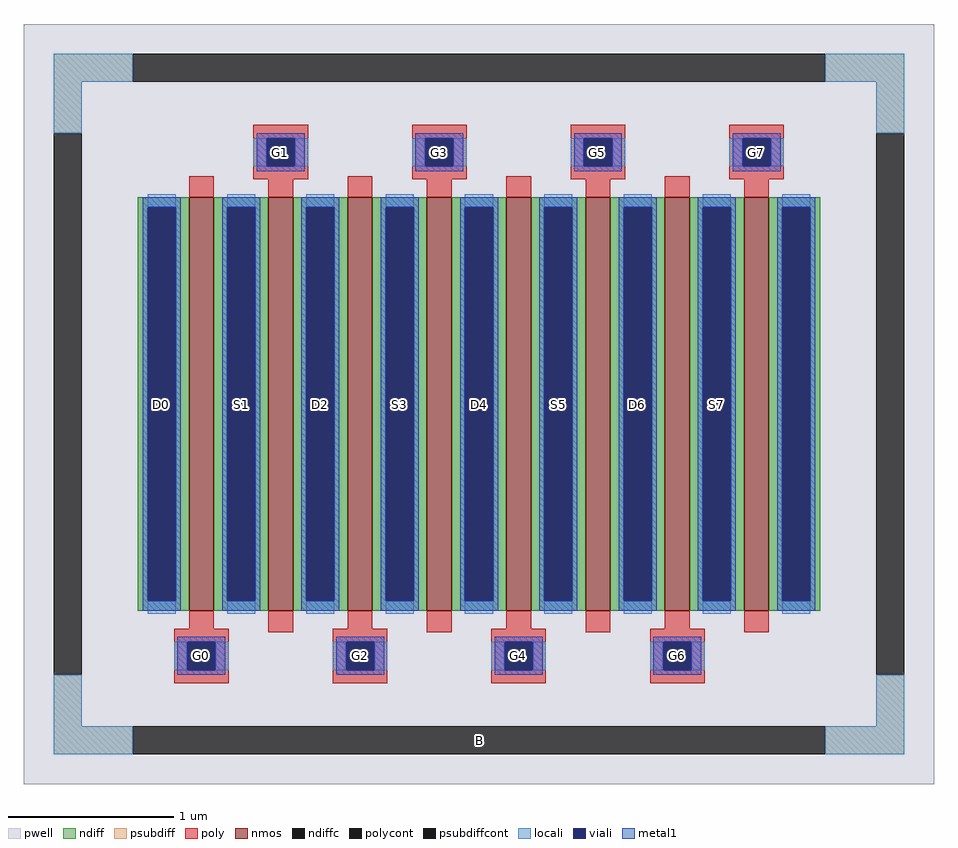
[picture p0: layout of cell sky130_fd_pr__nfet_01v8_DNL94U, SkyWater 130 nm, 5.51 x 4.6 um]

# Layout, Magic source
magic
tech sky130A
magscale 1 2
<< pwell >>
rect -551 -460 551 460
<< nmos >>
rect -351 -250 -321 250
rect -255 -250 -225 250
rect -159 -250 -129 250
rect -63 -250 -33 250
rect 33 -250 63 250
rect 129 -250 159 250
rect 225 -250 255 250
rect 321 -250 351 250
<< ndiff >>
rect -413 238 -351 250
rect -413 -238 -401 238
rect -367 -238 -351 238
rect -413 -250 -351 -238
rect -321 238 -255 250
rect -321 -238 -305 238
rect -271 -238 -255 238
rect -321 -250 -255 -238
rect -225 238 -159 250
rect -225 -238 -209 238
rect -175 -238 -159 238
rect -225 -250 -159 -238
rect -129 238 -63 250
rect -129 -238 -113 238
rect -79 -238 -63 238
rect -129 -250 -63 -238
rect -33 238 33 250
rect -33 -238 -17 238
rect 17 -238 33 238
rect -33 -250 33 -238
rect 63 238 129 250
rect 63 -238 79 238
rect 113 -238 129 238
rect 63 -250 129 -238
rect 159 238 225 250
rect 159 -238 175 238
rect 209 -238 225 238
rect 159 -250 225 -238
rect 255 238 321 250
rect 255 -238 271 238
rect 305 -238 321 238
rect 255 -250 321 -238
rect 351 238 413 250
rect 351 -238 367 238
rect 401 -238 413 238
rect 351 -250 413 -238
<< ndiffc >>
rect -401 -238 -367 238
rect -305 -238 -271 238
rect -209 -238 -175 238
rect -113 -238 -79 238
rect -17 -238 17 238
rect 79 -238 113 238
rect 175 -238 209 238
rect 271 -238 305 238
rect 367 -238 401 238
<< psubdiff >>
rect -515 390 -419 424
rect 419 390 515 424
rect -515 328 -481 390
rect 481 328 515 390
rect -515 -390 -481 -328
rect 481 -390 515 -328
rect -515 -424 -419 -390
rect 419 -424 515 -390
<< psubdiffcont >>
rect -419 390 419 424
rect -515 -328 -481 328
rect 481 -328 515 328
rect -419 -424 419 -390
<< poly >>
rect -273 322 -207 338
rect -273 288 -257 322
rect -223 288 -207 322
rect -351 250 -321 276
rect -273 272 -207 288
rect -81 322 -15 338
rect -81 288 -65 322
rect -31 288 -15 322
rect -255 250 -225 272
rect -159 250 -129 276
rect -81 272 -15 288
rect 111 322 177 338
rect 111 288 127 322
rect 161 288 177 322
rect -63 250 -33 272
rect 33 250 63 276
rect 111 272 177 288
rect 303 322 369 338
rect 303 288 319 322
rect 353 288 369 322
rect 129 250 159 272
rect 225 250 255 276
rect 303 272 369 288
rect 321 250 351 272
rect -351 -272 -321 -250
rect -369 -288 -303 -272
rect -255 -276 -225 -250
rect -159 -272 -129 -250
rect -369 -322 -353 -288
rect -319 -322 -303 -288
rect -369 -338 -303 -322
rect -177 -288 -111 -272
rect -63 -276 -33 -250
rect 33 -272 63 -250
rect -177 -322 -161 -288
rect -127 -322 -111 -288
rect -177 -338 -111 -322
rect 15 -288 81 -272
rect 129 -276 159 -250
rect 225 -272 255 -250
rect 15 -322 31 -288
rect 65 -322 81 -288
rect 15 -338 81 -322
rect 207 -288 273 -272
rect 321 -276 351 -250
rect 207 -322 223 -288
rect 257 -322 273 -288
rect 207 -338 273 -322
<< polycont >>
rect -257 288 -223 322
rect -65 288 -31 322
rect 127 288 161 322
rect 319 288 353 322
rect -353 -322 -319 -288
rect -161 -322 -127 -288
rect 31 -322 65 -288
rect 223 -322 257 -288
<< locali >>
rect -515 390 -419 424
rect 419 390 515 424
rect -515 328 -481 390
rect 481 328 515 390
rect -273 288 -257 322
rect -223 288 -207 322
rect -81 288 -65 322
rect -31 288 -15 322
rect 111 288 127 322
rect 161 288 177 322
rect 303 288 319 322
rect 353 288 369 322
rect -401 238 -367 254
rect -401 -254 -367 -238
rect -305 238 -271 254
rect -305 -254 -271 -238
rect -209 238 -175 254
rect -209 -254 -175 -238
rect -113 238 -79 254
rect -113 -254 -79 -238
rect -17 238 17 254
rect -17 -254 17 -238
rect 79 238 113 254
rect 79 -254 113 -238
rect 175 238 209 254
rect 175 -254 209 -238
rect 271 238 305 254
rect 271 -254 305 -238
rect 367 238 401 254
rect 367 -254 401 -238
rect -369 -322 -353 -288
rect -319 -322 -303 -288
rect -177 -322 -161 -288
rect -127 -322 -111 -288
rect 15 -322 31 -288
rect 65 -322 81 -288
rect 207 -322 223 -288
rect 257 -322 273 -288
rect -515 -390 -481 -328
rect 481 -390 515 -328
rect -515 -424 -419 -390
rect 419 -424 515 -390
<< viali >>
rect -257 288 -223 322
rect -65 288 -31 322
rect 127 288 161 322
rect 319 288 353 322
rect -401 -238 -367 238
rect -305 -238 -271 238
rect -209 -238 -175 238
rect -113 -238 -79 238
rect -17 -238 17 238
rect 79 -238 113 238
rect 175 -238 209 238
rect 271 -238 305 238
rect 367 -238 401 238
rect -353 -322 -319 -288
rect -161 -322 -127 -288
rect 31 -322 65 -288
rect 223 -322 257 -288
<< metal1 >>
rect -269 322 -211 328
rect -269 288 -257 322
rect -223 288 -211 322
rect -269 282 -211 288
rect -77 322 -19 328
rect -77 288 -65 322
rect -31 288 -19 322
rect -77 282 -19 288
rect 115 322 173 328
rect 115 288 127 322
rect 161 288 173 322
rect 115 282 173 288
rect 307 322 365 328
rect 307 288 319 322
rect 353 288 365 322
rect 307 282 365 288
rect -407 238 -361 250
rect -407 -238 -401 238
rect -367 -238 -361 238
rect -407 -250 -361 -238
rect -311 238 -265 250
rect -311 -238 -305 238
rect -271 -238 -265 238
rect -311 -250 -265 -238
rect -215 238 -169 250
rect -215 -238 -209 238
rect -175 -238 -169 238
rect -215 -250 -169 -238
rect -119 238 -73 250
rect -119 -238 -113 238
rect -79 -238 -73 238
rect -119 -250 -73 -238
rect -23 238 23 250
rect -23 -238 -17 238
rect 17 -238 23 238
rect -23 -250 23 -238
rect 73 238 119 250
rect 73 -238 79 238
rect 113 -238 119 238
rect 73 -250 119 -238
rect 169 238 215 250
rect 169 -238 175 238
rect 209 -238 215 238
rect 169 -250 215 -238
rect 265 238 311 250
rect 265 -238 271 238
rect 305 -238 311 238
rect 265 -250 311 -238
rect 361 238 407 250
rect 361 -238 367 238
rect 401 -238 407 238
rect 361 -250 407 -238
rect -365 -288 -307 -282
rect -365 -322 -353 -288
rect -319 -322 -307 -288
rect -365 -328 -307 -322
rect -173 -288 -115 -282
rect -173 -322 -161 -288
rect -127 -322 -115 -288
rect -173 -328 -115 -322
rect 19 -288 77 -282
rect 19 -322 31 -288
rect 65 -322 77 -288
rect 19 -328 77 -322
rect 211 -288 269 -282
rect 211 -322 223 -288
rect 257 -322 269 -288
rect 211 -328 269 -322
<< labels >>
rlabel psubdiffcont 0 -407 0 -407 0 B
port 1 nsew
rlabel ndiffc -384 0 -384 0 0 D0
port 2 nsew
rlabel polycont -336 -305 -336 -305 0 G0
port 3 nsew
rlabel ndiffc -288 0 -288 0 0 S1
port 4 nsew
rlabel polycont -240 305 -240 305 0 G1
port 5 nsew
rlabel ndiffc -192 0 -192 0 0 D2
port 6 nsew
rlabel polycont -144 -305 -144 -305 0 G2
port 7 nsew
rlabel ndiffc -96 0 -96 0 0 S3
port 8 nsew
rlabel polycont -48 305 -48 305 0 G3
port 9 nsew
rlabel ndiffc 0 0 0 0 0 D4
port 10 nsew
rlabel polycont 48 -305 48 -305 0 G4
port 11 nsew
rlabel ndiffc 96 0 96 0 0 S5
port 12 nsew
rlabel polycont 144 305 144 305 0 G5
port 13 nsew
rlabel ndiffc 192 0 192 0 0 D6
port 14 nsew
rlabel polycont 240 -305 240 -305 0 G6
port 15 nsew
rlabel ndiffc 288 0 288 0 0 S7
port 16 nsew
rlabel polycont 336 305 336 305 0 G7
port 17 nsew
<< properties >>
string FIXED_BBOX -498 -407 498 407
string gencell sky130_fd_pr__nfet_01v8
string library sky130
string parameters w 2.5 l 0.150 m 1 nf 8 diffcov 100 polycov 100 guard 1 glc 1 grc 1 gtc 1 gbc 1 tbcov 100 rlcov 100 topc 1 botc 1 poverlap 0 doverlap 1 lmin 0.15 wmin 0.42 class mosfet compatible {sky130_fd_pr__nfet_01v8 sky130_fd_pr__nfet_01v8_lvt  sky130_fd_bs_flash__special_sonosfet_star  sky130_fd_pr__nfet_g5v0d10v5 sky130_fd_pr__nfet_05v0_nvt  sky130_fd_pr__nfet_03v3_nvt} full_metal 1 conn_gates 0 viasrc 100 viadrn 100 viagate 100 viagb 0 viagr 0 viagl 0 viagt 0 doports 1
<< end >>
